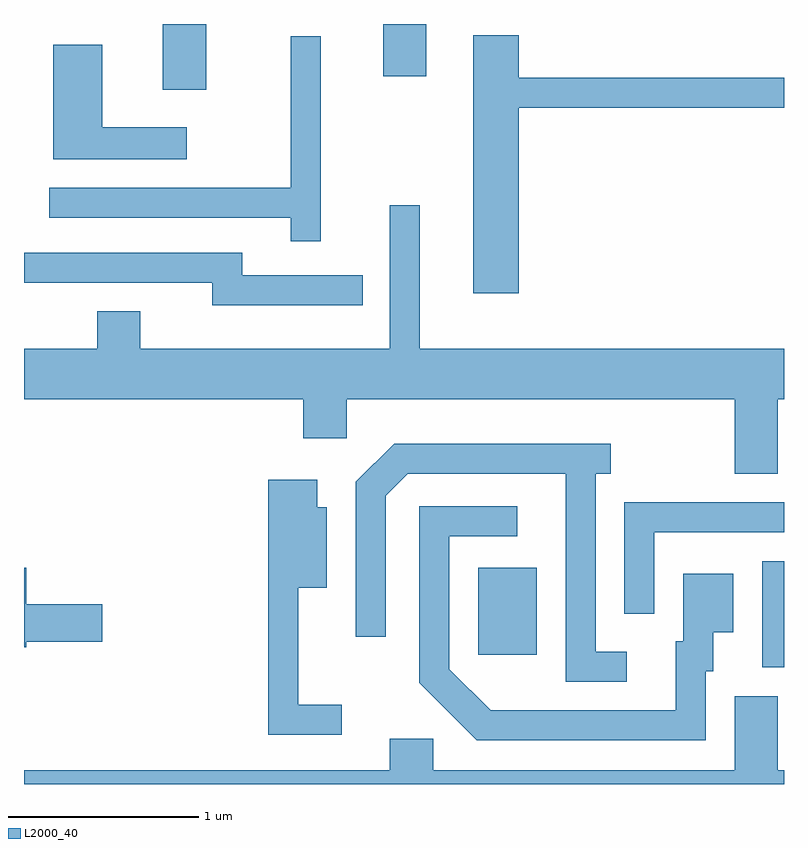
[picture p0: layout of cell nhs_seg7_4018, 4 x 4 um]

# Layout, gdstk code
import gdstk
lib = gdstk.Library(unit=1e-6, precision=1e-09)
def R(c, l, rs):  # rectangles x0, y0, x1, y1
    for r in rs: c.add(gdstk.rectangle(r[:2], r[2:], *l))
def P(c, l, *ps):  # polygons
    for p in ps: c.add(gdstk.Polygon(p, *l))
L2000_40 = (2000, 40)

nhs_seg7_4018 = lib.new_cell('nhs_seg7_4018')
R(nhs_seg7_4018, L2000_40, [(311.496,1752.866,311.611,1753.424), (310.001,1752.931,310.309,1753.389), (308.341,1755.906,308.569,1756.252), (309.501,1755.976,309.729,1756.252)])
P(nhs_seg7_4018, L2000_40, [(310.214,1755.811),(311.611,1755.811),(311.611,1755.969),(310.214,1755.969),(310.214,1756.194),(309.976,1756.194),(309.976,1754.836),(310.214,1754.836)],
  [(309.174,1756.188),(309.016,1756.188),(309.016,1755.389),(307.743,1755.389),(307.743,1755.231),(309.016,1755.231),(309.016,1755.108),(309.174,1755.108)],
  [(308.468,1755.709),(308.024,1755.709),(308.024,1756.144),(307.766,1756.144),(307.766,1755.541),(308.468,1755.541)],
  [(311.579,1754.276),(311.611,1754.276),(311.611,1754.544),(309.694,1754.544),(309.694,1755.298),(309.536,1755.298),(309.536,1754.544),(308.224,1754.544),(308.224,1754.739),(307.996,1754.739),(307.996,1754.544),(307.611,1754.544),(307.611,1754.276),(309.081,1754.276),(309.081,1754.071),(309.309,1754.071),(309.309,1754.276),(311.351,1754.276),(311.351,1753.886),(311.579,1753.886)],
  [(309.393,1754.929),(308.759,1754.929),(308.759,1755.049),(307.611,1755.049),(307.611,1754.891),(308.601,1754.891),(308.601,1754.771),(309.393,1754.771)],
  [(310.783,1752.949),(310.619,1752.949),(310.619,1753.886),(310.698,1753.886),(310.698,1754.044),(309.559,1754.044),(309.356,1753.842),(309.356,1753.028),(309.514,1753.028),(309.514,1753.769),(309.632,1753.886),(310.461,1753.886),(310.461,1752.791),(310.783,1752.791)],
  [(309.283,1752.669),(309.054,1752.669),(309.054,1753.286),(309.204,1753.286),(309.204,1753.709),(309.154,1753.709),(309.154,1753.854),(308.896,1753.854),(308.896,1752.511),(309.283,1752.511)],
  [(310.929,1753.576),(311.611,1753.576),(311.611,1753.734),(310.771,1753.734),(310.771,1753.148),(310.929,1753.148)],
  [(311.199,1752.846),(311.239,1752.846),(311.239,1753.051),(311.344,1753.051),(311.344,1753.359),(311.081,1753.359),(311.081,1753.004),(311.041,1753.004),(311.041,1752.639),(310.067,1752.639),(309.849,1752.857),(309.849,1753.556),(310.208,1753.556),(310.208,1753.714),(309.691,1753.714),(309.691,1752.784),(309.994,1752.481),(311.199,1752.481)],
  [(307.624,1753.001),(308.024,1753.001),(308.024,1753.199),(307.624,1753.199),(307.624,1753.389),(307.611,1753.389),(307.611,1752.971),(307.624,1752.971)],
  [(311.611,1752.324),(311.579,1752.324),(311.579,1752.714),(311.351,1752.714),(311.351,1752.324),(309.764,1752.324),(309.764,1752.489),(309.536,1752.489),(309.536,1752.324),(307.611,1752.324),(307.611,1752.252),(311.611,1752.252)])

lib.write_gds('nhs_seg7_4018.gds')
